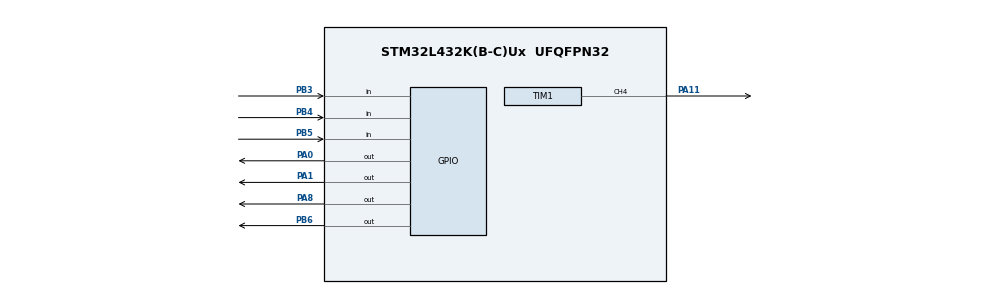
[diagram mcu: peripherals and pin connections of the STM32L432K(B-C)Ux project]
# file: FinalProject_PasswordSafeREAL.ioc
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Mcu.Family=STM32L4
Mcu.Name=STM32L432K(B-C)Ux
Mcu.Package=UFQFPN32
NVIC.PriorityGroup=NVIC_PRIORITYGROUP_4
PA0.Signal=GPIO_Output
PA1.Signal=GPIO_Output
PA11.Signal=S_TIM1_CH4
PA8.Signal=GPIO_Output
PB3\ (JTDO-TRACESWO).Signal=GPIO_Input
PB4\ (NJTRST).Signal=GPIO_Input
PB5.Signal=GPIO_Input
PB6.Signal=GPIO_Output
ProjectManager.HeapSize=0x200
ProjectManager.StackSize=0x400
ProjectManager.TargetToolchain=STM32CubeIDE
RCC.HSE_VALUE=8000000
RCC.HSI48_VALUE=48000000
RCC.HSI_VALUE=16000000
RCC.LSE_VALUE=32768
RCC.MSI_VALUE=4000000
RCC.VCOOutputFreq_Value=32000000
SH.S_TIM1_CH4.0=TIM1_CH4,PWM Generation4 CH4
TIM1.Channel-PWM\ Generation4\ CH4=TIM_CHANNEL_4
TIM1.Period=1000
TIM1.Prescaler=19
TIM1.Pulse-PWM\ Generation4\ CH4=500
VP_TIM1_VS_ClockSourceINT.Mode=Internal
board=custom

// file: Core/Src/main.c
/* USER CODE BEGIN Header */
/**
  ******************************************************************************
  * @file           : main.c
  * @brief          : Main program body
  ******************************************************************************
  * @attention
  *
  * <h2><center>&copy; Copyright (c) 2021 STMicroelectronics.
  * All rights reserved.</center></h2>
  *
  * This software component is licensed by ST under BSD 3-Clause license,
  * the "License"; You may not use this file except in compliance with the
  * License. You may obtain a copy of the License at:
  *                        opensource.org/licenses/BSD-3-Clause
  *
  ******************************************************************************
  */
/* USER CODE END Header */
#include "main.h"
#include <stdbool.h>// Allows for the boolean flags to work
#include "stm32l4xx_hal.h"// Allows for the servo to function properly

TIM_HandleTypeDef htim1; // variable for the PWM timer and channel

void SystemClock_Config(void);
static void MX_GPIO_Init(void);
static void MX_TIM1_Init(void); // function for the timer to initiate with proper setting

int main(void)
{

  /* MCU Configuration--------------------------------------------------------*/

  /* Reset of all peripherals, Initializes the Flash interface and the Systick. */
  HAL_Init();

  /* Configure the system clock */
  SystemClock_Config();

  /* Initialize all configured peripherals */
  MX_GPIO_Init();
  MX_TIM1_Init();
  /* USER CODE BEGIN 2 */
  bool flag1 = false;// flag used for the "coded" input
  bool flag2 = false;// ^^
  bool flag3 = false;// ^^

  HAL_TIM_Base_Start(&htim1); // starts the PWM

  	// Start PWM at Port-A pin#11
  	  HAL_TIM_PWM_Start(&htim1,TIM_CHANNEL_4);

  /* USER CODE END 2 */

  /* Infinite loop */
  /* USER CODE BEGIN WHILE */
  while (1)
  {
	  if(HAL_GPIO_ReadPin(GPIOB, GPIO_PIN_3)) //Reads the button1 input
	  	  	     	  {
	  	  	     		  HAL_GPIO_WritePin(GPIOA, GPIO_PIN_0, GPIO_PIN_SET); //if button1 is pressed
	  	  	     		  flag1 = true; // flag1 becomes true when button1 is pressed
	  	  	     	  } else {
	  	  	     		  HAL_GPIO_WritePin(GPIOA, GPIO_PIN_0, GPIO_PIN_RESET); //if button1 is released
	  	  	     		  flag1 = false; // flag1 becomes false when button1 is released
	  	  	     	  }

	  	  if(HAL_GPIO_ReadPin(GPIOB, GPIO_PIN_4)) //Reads the button2 input
	  	  	     	  {
	  	  	     	 	  HAL_GPIO_WritePin(GPIOA, GPIO_PIN_1, GPIO_PIN_SET); //if button2 is pressed
	  	  	     	 	  flag2 = true; // flag2 becomes true when button2 is pressed
	  	  	     	  } else {
	  	  	     	 	  HAL_GPIO_WritePin(GPIOA, GPIO_PIN_1, GPIO_PIN_RESET); //if button2 is released
	  	  	     	 	  flag2 = false; // flag2 becomes false when button2 is released
	  	  	     	  }

	  	  if(HAL_GPIO_ReadPin(GPIOB, GPIO_PIN_5)) //Reads the button3 input
	  	  	     	  {
	  	  	     	      HAL_GPIO_WritePin(GPIOA, GPIO_PIN_8, GPIO_PIN_SET); //if button3 is pressed
	  	  	     	      flag3 = true; // flag3 becomes true when button2 is pressed
	  	  	     	  } else {
	  	  	     		  HAL_GPIO_WritePin(GPIOA, GPIO_PIN_8, GPIO_PIN_RESET);//if button3 is released
	  	  	     		  flag3 = false; // // flag3 becomes false when button2 is released
	  	  	     	  }

	  	  if(flag1 && flag2 && flag3) //This is the "coded" input; All have to be HIGH
	  	  		  	  {
	  		  	  __HAL_TIM_SetCompare(&htim1, TIM_CHANNEL_4, 500); // PWM sets servo to 0 degrees
	  		  	  HAL_GPIO_WritePin(GPIOB, GPIO_PIN_6, GPIO_PIN_SET); // sets the Piezo Buzzer to HIGH-- no sound
	  	  		  	  } else {

	  	  		  	__HAL_TIM_SetCompare(&htim1, TIM_CHANNEL_4, 250); // PWM sets servo to 90 degrees
	  	  		  HAL_GPIO_WritePin(GPIOB, GPIO_PIN_6, GPIO_PIN_RESET); // sets the Piezo Buzzer to LOW--no sound
	  	  		  	  }

    /* USER CODE END WHILE */

  }
}

void SystemClock_Config(void)
{
  RCC_OscInitTypeDef RCC_OscInitStruct = {0};
  RCC_ClkInitTypeDef RCC_ClkInitStruct = {0};

  /** Configure the main internal regulator output voltage
  */
  if (HAL_PWREx_ControlVoltageScaling(PWR_REGULATOR_VOLTAGE_SCALE1) != HAL_OK)
  {
    Error_Handler();
  }
  /** Initializes the RCC Oscillators according to the specified parameters
  * in the RCC_OscInitTypeDef structure.
  */
  RCC_OscInitStruct.OscillatorType = RCC_OSCILLATORTYPE_MSI;
  RCC_OscInitStruct.MSIState = RCC_MSI_ON;
  RCC_OscInitStruct.MSICalibrationValue = 0;
  RCC_OscInitStruct.MSIClockRange = RCC_MSIRANGE_6;
  RCC_OscInitStruct.PLL.PLLState = RCC_PLL_NONE;
  if (HAL_RCC_OscConfig(&RCC_OscInitStruct) != HAL_OK)
  {
    Error_Handler();
  }
  /** Initializes the CPU, AHB and APB buses clocks
  */
  RCC_ClkInitStruct.ClockType = RCC_CLOCKTYPE_HCLK|RCC_CLOCKTYPE_SYSCLK
                              |RCC_CLOCKTYPE_PCLK1|RCC_CLOCKTYPE_PCLK2;
  RCC_ClkInitStruct.SYSCLKSource = RCC_SYSCLKSOURCE_MSI;
  RCC_ClkInitStruct.AHBCLKDivider = RCC_SYSCLK_DIV1;
  RCC_ClkInitStruct.APB1CLKDivider = RCC_HCLK_DIV1;
  RCC_ClkInitStruct.APB2CLKDivider = RCC_HCLK_DIV1;

  if (HAL_RCC_ClockConfig(&RCC_ClkInitStruct, FLASH_LATENCY_0) != HAL_OK)
  {
    Error_Handler();
  }
}

static void MX_TIM1_Init(void)
{

  TIM_ClockConfigTypeDef sClockSourceConfig = {0};
  TIM_MasterConfigTypeDef sMasterConfig = {0};
  TIM_OC_InitTypeDef sConfigOC = {0};
  TIM_BreakDeadTimeConfigTypeDef sBreakDeadTimeConfig = {0};

  htim1.Instance = TIM1;
  htim1.Init.Prescaler = 19;
  htim1.Init.CounterMode = TIM_COUNTERMODE_UP;
  htim1.Init.Period = 1000;
  htim1.Init.ClockDivision = TIM_CLOCKDIVISION_DIV1;
  htim1.Init.RepetitionCounter = 0;
  htim1.Init.AutoReloadPreload = TIM_AUTORELOAD_PRELOAD_DISABLE;
  if (HAL_TIM_Base_Init(&htim1) != HAL_OK)
  {
    Error_Handler();
  }
  sClockSourceConfig.ClockSource = TIM_CLOCKSOURCE_INTERNAL;
  if (HAL_TIM_ConfigClockSource(&htim1, &sClockSourceConfig) != HAL_OK)
  {
    Error_Handler();
  }
  if (HAL_TIM_PWM_Init(&htim1) != HAL_OK)
  {
    Error_Handler();
  }
  sMasterConfig.MasterOutputTrigger = TIM_TRGO_RESET;
  sMasterConfig.MasterOutputTrigger2 = TIM_TRGO2_RESET;
  sMasterConfig.MasterSlaveMode = TIM_MASTERSLAVEMODE_DISABLE;
  if (HAL_TIMEx_MasterConfigSynchronization(&htim1, &sMasterConfig) != HAL_OK)
  {
    Error_Handler();
  }
  sConfigOC.OCMode = TIM_OCMODE_PWM1;
  sConfigOC.Pulse = 500;
  sConfigOC.OCPolarity = TIM_OCPOLARITY_HIGH;
  sConfigOC.OCFastMode = TIM_OCFAST_DISABLE;
  sConfigOC.OCIdleState = TIM_OCIDLESTATE_RESET;
  sConfigOC.OCNIdleState = TIM_OCNIDLESTATE_RESET;
  if (HAL_TIM_PWM_ConfigChannel(&htim1, &sConfigOC, TIM_CHANNEL_4) != HAL_OK)
  {
    Error_Handler();
  }
  sBreakDeadTimeConfig.OffStateRunMode = TIM_OSSR_DISABLE;
  sBreakDeadTimeConfig.OffStateIDLEMode = TIM_OSSI_DISABLE;
  sBreakDeadTimeConfig.LockLevel = TIM_LOCKLEVEL_OFF;
  sBreakDeadTimeConfig.DeadTime = 0;
  sBreakDeadTimeConfig.BreakState = TIM_BREAK_DISABLE;
  sBreakDeadTimeConfig.BreakPolarity = TIM_BREAKPOLARITY_HIGH;
  sBreakDeadTimeConfig.BreakFilter = 0;
  sBreakDeadTimeConfig.Break2State = TIM_BREAK2_DISABLE;
  sBreakDeadTimeConfig.Break2Polarity = TIM_BREAK2POLARITY_HIGH;
  sBreakDeadTimeConfig.Break2Filter = 0;
  sBreakDeadTimeConfig.AutomaticOutput = TIM_AUTOMATICOUTPUT_DISABLE;
  if (HAL_TIMEx_ConfigBreakDeadTime(&htim1, &sBreakDeadTimeConfig) != HAL_OK)
  {
    Error_Handler();
  }
  HAL_TIM_MspPostInit(&htim1);

}

static void MX_GPIO_Init(void)
{
  GPIO_InitTypeDef GPIO_InitStruct = {0};

  /* GPIO Ports Clock Enable */
  __HAL_RCC_GPIOA_CLK_ENABLE();
  __HAL_RCC_GPIOB_CLK_ENABLE();

  /*Configure GPIO pin Output Level */
  HAL_GPIO_WritePin(GPIOA, GPIO_PIN_0|GPIO_PIN_1|GPIO_PIN_8, GPIO_PIN_RESET);

  /*Configure GPIO pin Output Level */
  HAL_GPIO_WritePin(GPIOB, GPIO_PIN_6, GPIO_PIN_RESET);

  /*Configure GPIO pins : PA0 PA1 PA8 */
  GPIO_InitStruct.Pin = GPIO_PIN_0|GPIO_PIN_1|GPIO_PIN_8;
  GPIO_InitStruct.Mode = GPIO_MODE_OUTPUT_PP;
  GPIO_InitStruct.Pull = GPIO_NOPULL;
  GPIO_InitStruct.Speed = GPIO_SPEED_FREQ_LOW;
  HAL_GPIO_Init(GPIOA, &GPIO_InitStruct);

  /*Configure GPIO pins : PB3 PB4 PB5 */
  GPIO_InitStruct.Pin = GPIO_PIN_3|GPIO_PIN_4|GPIO_PIN_5;
  GPIO_InitStruct.Mode = GPIO_MODE_INPUT;
  GPIO_InitStruct.Pull = GPIO_NOPULL;
  HAL_GPIO_Init(GPIOB, &GPIO_InitStruct);

  /*Configure GPIO pin : PB6 */
  GPIO_InitStruct.Pin = GPIO_PIN_6;
  GPIO_InitStruct.Mode = GPIO_MODE_OUTPUT_PP;
  GPIO_InitStruct.Pull = GPIO_NOPULL;
  GPIO_InitStruct.Speed = GPIO_SPEED_FREQ_LOW;
  HAL_GPIO_Init(GPIOB, &GPIO_InitStruct);

}

void Error_Handler(void)
{
  __disable_irq();
  while (1)
  {
  }
}

/************************ (C) COPYRIGHT STMicroelectronics *****END OF FILE****/
